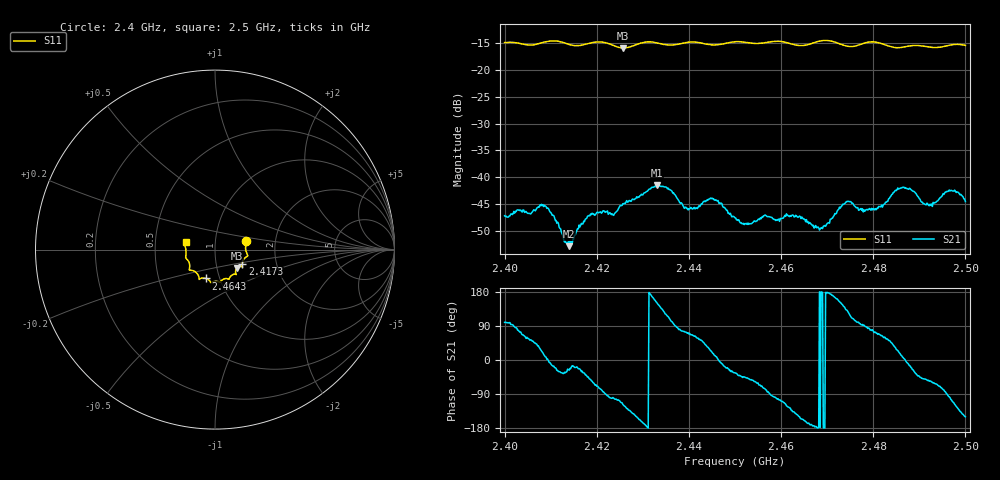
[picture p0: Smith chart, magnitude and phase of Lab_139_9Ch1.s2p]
# Hz S RI R 50
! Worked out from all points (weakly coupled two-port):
!   601 points, 2.4 GHz to 2.5 GHz, reference 50 ohm
!   highest |S21| = -41.54 dB at 2.433 GHz (marker M1); lowest = -52.9 dB at 2.414 GHz (marker M2)
!   lowest |S11| = -15.9 dB at 2.4257 GHz (marker M3), VSWR 1.38, Z = 62.5 - j13.1 ohm
!   |S11| at or under -10 dB: start of sweep to end of sweep
!   S12 and S22 are empty: the file has one direction only
!   S11 on the Smith chart (normalised r, x): 2.4 GHz: 1.41, +0.14; 2.4173 GHz: 1.34, -0.22; 2.4643 GHz: 0.86, -0.29; 2.5 GHz: 0.72, +0.06
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2.4e9  0.1729 0.0488  -0.000704 0.0043  0 0  0 0
2.4085e9  0.1796 -0.025  0.00515 0.00131  0 0  0 0
2.414e9  0.1661 -0.0467  0.00203 -0.00102  0 0  0 0
2.416667e9  0.1528 -0.0741  0.00318 -0.0019  0 0  0 0
2.417333e9  0.1519 -0.0816  0.00316 -0.00218  0 0  0 0
2.425667e9  0.1232 -0.1021  -0.0026 -0.00502  0 0  0 0
2.433e9  0.1147 -0.1374  -0.0074 0.00392  0 0  0 0
2.433333e9  0.1128 -0.1371  -0.00678 0.00454  0 0  0 0
2.439333e9  0.08 -0.1609  0.00148 0.00502  0 0  0 0
2.445e9  0.0559 -0.1618  0.00596 0.00226  0 0  0 0
2.45e9  0.0289 -0.1808  0.00347 -0.00231  0 0  0 0
2.4525e9  0.0203 -0.1791  0.0025 -0.00273  0 0  0 0
2.464333e9  -0.0498 -0.1609  -0.00374 -0.00169  0 0  0 0
2.466667e9  -0.0759 -0.1593  -0.00357 -0.000543  0 0  0 0
2.469333e9  -0.0882 -0.1662  -0.0035 -4.08e-05  0 0  0 0
2.4745e9  -0.1017 -0.1312  -0.00363 0.00472  0 0  0 0
2.478333e9  -0.1376 -0.1149  0.000184 0.00493  0 0  0 0
2.483333e9  -0.1408 -0.09  0.00391 0.0049  0 0  0 0
2.4865e9  -0.152 -0.0593  0.00797 0.00086  0 0  0 0
2.491667e9  -0.1622 -0.0286  0.00344 -0.00457  0 0  0 0
2.4965e9  -0.168 0.024  -0.000955 -0.00752  0 0  0 0
2.5e9  -0.1639 0.0428  -0.00512 -0.00296  0 0  0 0
